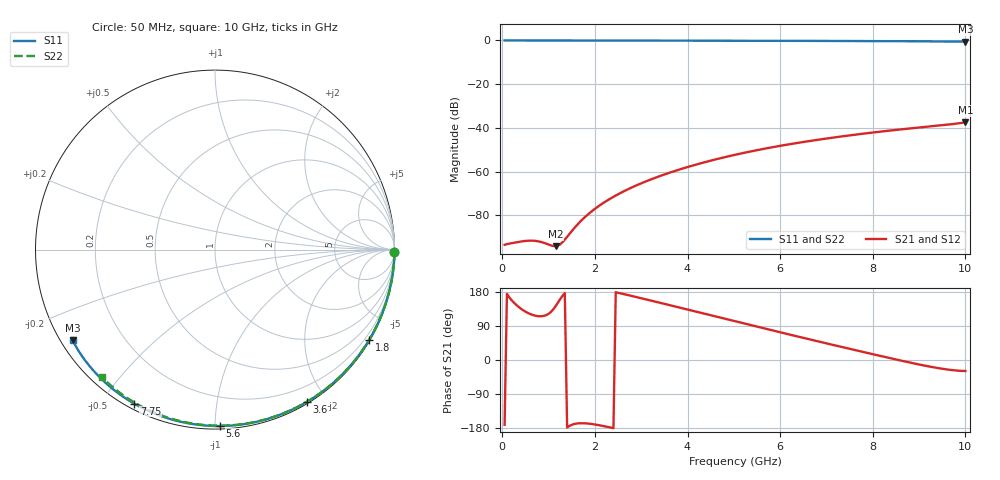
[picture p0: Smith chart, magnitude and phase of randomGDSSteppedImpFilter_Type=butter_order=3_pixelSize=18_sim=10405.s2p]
! freq	dB(S11)	phase(S11)	dB(S12)	phase(S12)
!  dB(S21)	phase(S21)	dB(S22)	phase(S22)
!S-par simulation data
#  GHz  S  DB  R 50
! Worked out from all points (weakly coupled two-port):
!   200 points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, 50 MHz to 10 GHz, reference 50 ohm
!   highest |S21| = -37.40 dB at 10 GHz (marker M1); lowest = -94.0 dB at 1.15 GHz (marker M2)
!   lowest |S11| = -0.5 dB at 10 GHz (marker M3), VSWR 32.09, Z = 1.69 - j14.5 ohm
!   |S11| at or under -10 dB: nowhere
!   |S22| runs from -0.4 to 0.0 dB; largest |S21 - S12| = 0
!   S11 on the Smith chart (normalised r, x): 50 MHz: open; 1.8 GHz: 0.03, -3.70; 3.6 GHz: 0.02, -1.77; 5.6 GHz: 0.02, -1.03; 7.75 GHz: 0.02, -0.60; 10 GHz: 0.03, -0.29
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0.05  -0.00 -0.9  -93.42 -171.0  -93.42 -171.0  -0.00 -0.8
0.6  -0.01 -10.2  -91.51 121.5  -91.51 121.5  -0.01 -9.1
1.15  -0.02 -19.5  -94.04 141.8  -94.04 141.8  -0.02 -17.3
1.75  -0.04 -29.4  -81.42 -166.9  -81.42 -166.9  -0.03 -26.2
1.8  -0.04 -30.2  -80.44 -167.2  -80.44 -167.2  -0.03 -27.0
1.85  -0.04 -31.1  -79.51 -167.7  -79.51 -167.7  -0.04 -27.7
2.05  -0.04 -34.3  -76.18 -171.2  -76.18 -171.2  -0.04 -30.6
2.2  -0.05 -36.8  -74.03 -174.6  -74.03 -174.6  -0.04 -32.8
2.5  -0.05 -41.6  -70.30 177.4  -70.30 177.4  -0.05 -37.1
2.9  -0.06 -48.0  -66.21 166.0  -66.21 166.0  -0.06 -42.9
3.4  -0.07 -55.9  -62.01 151.2  -62.01 151.2  -0.07 -49.9
3.6  -0.08 -59.0  -60.53 145.2  -60.53 145.2  -0.07 -52.7
4.3  -0.10 -69.6  -56.06 124.3  -56.06 124.3  -0.09 -62.3
5.05  -0.12 -80.6  -52.15 101.7  -52.15 101.7  -0.11 -72.2
5.6  -0.15 -88.5  -49.73 85.1  -49.73 85.1  -0.13 -79.4
6.15  -0.17 -96.2  -47.62 68.7  -47.62 68.7  -0.15 -86.3
6.7  -0.20 -103.7  -45.76 52.6  -45.76 52.6  -0.18 -93.1
7.75  -0.27 -117.7  -42.72 22.4  -42.72 22.4  -0.24 -105.7
8.35  -0.32 -125.6  -41.23 5.5  -41.23 5.5  -0.29 -112.7
9.25  -0.41 -137.3  -39.29 -17.9  -39.29 -17.9  -0.37 -123.0
9.7  -0.48 -143.4  -38.29 -26.5  -38.29 -26.5  -0.41 -128.1
10  -0.54 -147.6  -37.40 -29.0  -37.40 -29.0  -0.45 -131.4
